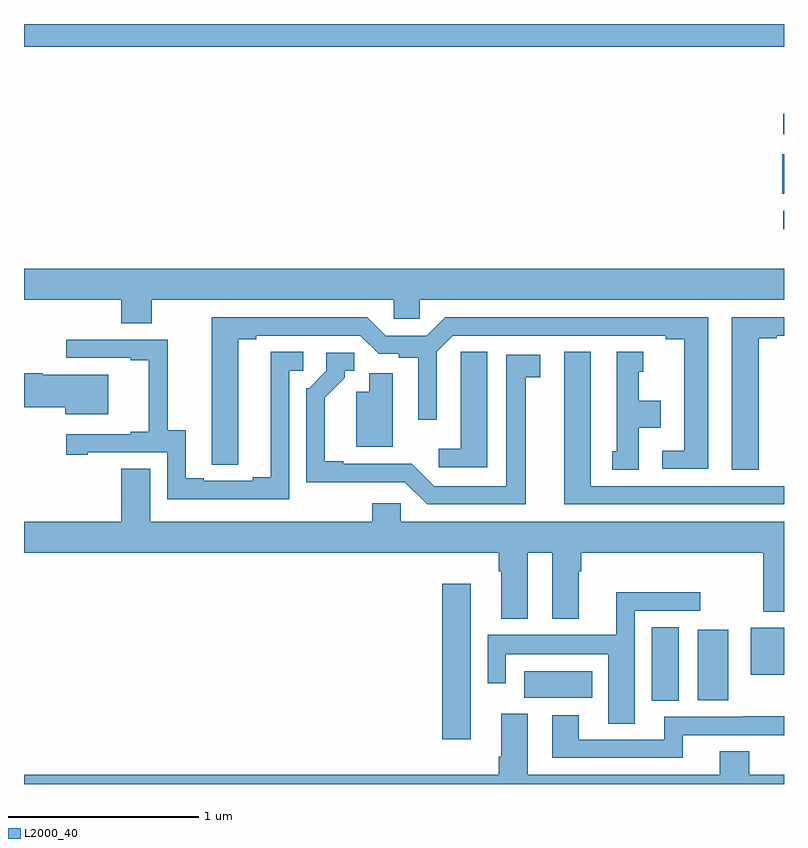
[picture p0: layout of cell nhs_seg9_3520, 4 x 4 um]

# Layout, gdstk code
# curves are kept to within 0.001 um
import gdstk
lib = gdstk.Library(unit=1e-6, precision=1e-09)
def R(c, l, rs):  # rectangles x0, y0, x1, y1
    for r in rs: c.add(gdstk.rectangle(r[:2], r[2:], *l))
def P(c, l, *ps):  # polygons
    for p in ps: c.add(gdstk.Polygon(p, *l))
L2000_40 = (2000, 40)

nhs_seg9_3520 = lib.new_cell('nhs_seg9_3520')
R(nhs_seg9_3520, L2000_40, [(313.202,1232.736,313.351,1233.553), (314.303,1232.938,314.446,1233.326), (314.546,1232.942,314.707,1233.313), (313.632,1232.954,313.99,1233.094), (314.825,1233.074,315,1233.322), (314.997,1235.421,315,1235.517), (314.99,1235.606,315,1235.815), (314.997,1235.919,315,1236.028), (311,1236.38,315,1236.5)])
P(nhs_seg9_3520, L2000_40, [(311.673,1235.048),(312.945,1235.048),(312.945,1234.95),(313.083,1234.95),(313.083,1235.048),(315,1235.048),(315,1235.212),(311,1235.212),(311,1235.048),(311.513,1235.048),(311.513,1234.924),(311.673,1234.924)],
  [(314.602,1234.956),(313.217,1234.956),(313.121,1234.86),(312.903,1234.86),(312.807,1234.956),(311.987,1234.956),(311.988,1234.18),(312.127,1234.18),(312.127,1234.84),(312.223,1234.84),(312.223,1234.86),(312.771,1234.86),(312.867,1234.764),(312.972,1234.764),(312.972,1234.744),(313.076,1234.744),(313.076,1234.416),(313.173,1234.416),(313.173,1234.776),(313.257,1234.86),(314.378,1234.86),(314.378,1234.84),(314.474,1234.84),(314.474,1234.254),(314.358,1234.254),(314.358,1234.158),(314.602,1234.158)],
  [(314.866,1234.845),(314.962,1234.845),(314.962,1234.86),(315,1234.86),(315,1234.956),(314.726,1234.956),(314.726,1234.153),(314.866,1234.153)],
  [(312.396,1234.674),(312.469,1234.674),(312.469,1234.775),(312.299,1234.775),(312.299,1234.115),(312.203,1234.115),(312.203,1234.095),(311.947,1234.095),(311.947,1234.11),(311.851,1234.11),(311.851,1234.361),(311.757,1234.361),(311.757,1234.839),(311.223,1234.839),(311.223,1234.743),(311.561,1234.743),(311.561,1234.731),(311.657,1234.731),(311.657,1234.354),(311.561,1234.354),(311.561,1234.341),(311.223,1234.341),(311.223,1234.233),(311.335,1234.233),(311.335,1234.245),(311.754,1234.245),(311.754,1233.999),(312.396,1233.999)],
  [(313.438,1234.775),(313.299,1234.775),(313.299,1234.667),(313.298,1234.667),(313.298,1234.264),(313.182,1234.264),(313.182,1234.167),(313.438,1234.167)],
  [(314.236,1234.376),(314.35,1234.376),(314.35,1234.516),(314.236,1234.516),(314.236,1234.671),(314.26,1234.671),(314.26,1234.774),(314.12,1234.774),(314.12,1234.251),(314.096,1234.251),(314.096,1234.153),(314.236,1234.153)],
  [(315,1234.068),(313.984,1234.068),(313.984,1234.774),(313.844,1234.774),(313.844,1233.972),(315,1233.972)],
  [(313.642,1234.642),(313.717,1234.642),(313.717,1234.758),(313.538,1234.758),(313.538,1234.068),(313.158,1234.068),(313.041,1234.185),(312.679,1234.185),(312.679,1234.198),(312.583,1234.198),(312.583,1234.534),(312.688,1234.639),(312.688,1234.674),(312.738,1234.674),(312.738,1234.77),(312.591,1234.77),(312.591,1234.674),(312.501,1234.584),(312.486,1234.584),(312.486,1234.088),(313.005,1234.089),(313.122,1233.972),(313.642,1233.972)],
  [(311.443,1234.654),(311.098,1234.654),(311.098,1234.662),(311,1234.662),(311,1234.484),(311.216,1234.484),(311.216,1234.445),(311.443,1234.445)],
  [(312.94,1234.662),(312.818,1234.662),(312.818,1234.564),(312.749,1234.564),(312.749,1234.274),(312.94,1234.274)],
  [(313.651,1233.716),(313.781,1233.716),(313.781,1233.371),(313.921,1233.371),(313.921,1233.62),(313.934,1233.62),(313.934,1233.716),(314.89,1233.716),(314.89,1233.407),(315,1233.407),(315,1233.88),(312.984,1233.88),(312.984,1233.978),(312.833,1233.978),(312.833,1233.88),(311.665,1233.88),(311.665,1234.16),(311.513,1234.16),(311.513,1233.88),(311,1233.88),(311,1233.716),(313.499,1233.716),(313.499,1233.62),(313.511,1233.62),(313.511,1233.371),(313.651,1233.371)],
  [(314.215,1233.411),(314.56,1233.411),(314.56,1233.509),(314.117,1233.509),(314.117,1233.286),(313.44,1233.286),(313.44,1233.03),(313.536,1233.03),(313.536,1233.182),(314.075,1233.182),(314.075,1232.818),(314.215,1232.818)],
  [(315,1232.548),(314.816,1232.548),(314.816,1232.672),(314.663,1232.672),(314.663,1232.548),(313.651,1232.548),(313.651,1232.869),(313.511,1232.869),(313.511,1232.644),(313.499,1232.644),(313.499,1232.548),(311,1232.548),(311,1232.5),(315,1232.5)],
  [(314.468,1232.757),(315,1232.757),(315,1232.856),(314.785,1232.856),(314.785,1232.853),(314.369,1232.853),(314.369,1232.733),(313.921,1232.733),(313.921,1232.863),(313.781,1232.863),(313.781,1232.637),(314.468,1232.637)])

lib.write_gds('nhs_seg9_3520.gds')
